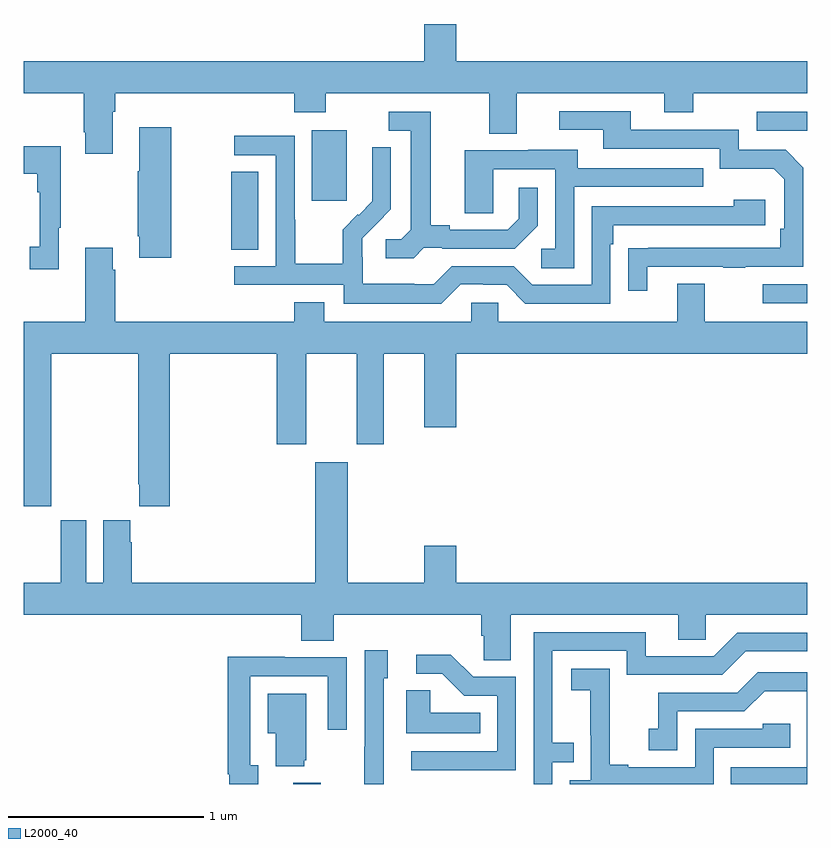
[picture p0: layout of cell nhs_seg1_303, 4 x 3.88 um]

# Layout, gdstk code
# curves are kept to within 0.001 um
import gdstk
lib = gdstk.Library(unit=1e-6, precision=1e-09)
def R(c, l, rs):  # rectangles x0, y0, x1, y1
    for r in rs: c.add(gdstk.rectangle(r[:2], r[2:], *l))
def P(c, l, *ps):  # polygons
    for p in ps: c.add(gdstk.Polygon(p, *l))
L2000_40 = (2000, 40)

nhs_seg1_303 = lib.new_cell('nhs_seg1_303')
R(nhs_seg1_303, L2000_40, [(128.375,552.199,128.515,552.205), (130.773,554.655,131,554.751), (128.059,554.929,128.197,555.326), (128.471,555.177,128.65,555.538), (130.743,555.537,131,555.633)])
P(nhs_seg1_303, L2000_40, [(127.453,555.632),(127.466,555.632),(127.466,555.728),(128.381,555.728),(128.381,555.629),(128.541,555.629),(128.541,555.728),(129.377,555.728),(129.377,555.52),(129.517,555.52),(129.517,555.728),(130.271,555.728),(130.271,555.629),(130.419,555.629),(130.419,555.728),(131,555.728),(131,555.892),(129.208,555.892),(129.208,556.081),(129.044,556.081),(129.044,555.892),(127,555.892),(127,555.728),(127.306,555.728),(127.306,555.529),(127.313,555.529),(127.313,555.417),(127.453,555.417)],
  [(130.183,554.841),(130.573,554.841),(130.573,554.836),(130.685,554.836),(130.685,554.841),(130.98,554.841),(130.98,555.348),(130.89,555.438),(130.65,555.438),(130.65,555.54),(130.099,555.54),(130.099,555.636),(129.735,555.636),(129.735,555.54),(129.959,555.54),(129.959,555.444),(130.554,555.444),(130.554,555.341),(130.831,555.341),(130.884,555.288),(130.884,555.034),(130.864,555.034),(130.864,554.937),(130.087,554.936),(130.087,554.718),(130.183,554.718)],
  [(129.042,554.937),(129.136,554.937),(129.136,554.934),(129.508,554.934),(129.624,555.05),(129.624,555.244),(129.527,555.244),(129.527,555.087),(129.47,555.03),(129.175,555.03),(129.175,555.053),(129.079,555.053),(129.079,555.633),(128.864,555.633),(128.864,555.537),(128.975,555.537),(128.975,555.029),(128.928,554.982),(128.847,554.982),(128.847,554.885),(128.99,554.885)],
  [(127.752,555.553),(127.589,555.553),(127.589,555.329),(127.582,555.329),(127.582,554.998),(127.589,554.998),(127.589,554.886),(127.752,554.886)],
  [(129.231,554.751),(129.347,554.751),(129.347,554.748),(129.465,554.748),(129.561,554.652),(129.996,554.652),(129.996,554.957),(130.009,554.957),(130.009,555.054),(130.786,555.054),(130.786,555.184),(130.625,555.184),(130.625,555.15),(129.9,555.15),(129.9,554.748),(129.597,554.748),(129.501,554.844),(129.186,554.844),(129.093,554.751),(128.993,554.751),(128.993,554.755),(128.73,554.755),(128.73,554.889),(128.728,554.889),(128.728,554.986),(128.874,555.134),(128.874,555.452),(128.778,555.452),(128.778,555.298),(128.78,555.298),(128.78,555.176),(128.709,555.105),(128.706,555.108),(128.629,555.031),(128.629,554.857),(128.385,554.857),(128.385,555.08),(128.382,555.08),(128.382,555.51),(128.073,555.51),(128.073,555.411),(128.286,555.411),(128.286,554.844),(128.073,554.844),(128.073,554.748),(128.634,554.748),(128.634,554.651),(129.131,554.651)],
  [(127.177,555.041),(127.189,555.041),(127.189,555.457),(127,555.457),(127,555.317),(127.068,555.317),(127.068,555.221),(127.08,555.221),(127.08,554.942),(127.029,554.942),(127.029,554.829),(127.177,554.829)],
  [(129.81,555.249),(130.469,555.249),(130.469,555.345),(129.829,555.345),(129.829,555.439),(129.575,555.439),(129.575,555.435),(129.251,555.435),(129.251,555.115),(129.396,555.115),(129.396,555.339),(129.714,555.339),(129.714,554.934),(129.642,554.934),(129.642,554.833),(129.81,554.833)],
  [(127.14,554.396),(127.585,554.396),(127.585,553.729),(127.589,553.729),(127.589,553.617),(127.745,553.617),(127.745,554.396),(128.291,554.396),(128.291,553.935),(128.443,553.935),(128.443,554.396),(128.699,554.396),(128.699,553.935),(128.839,553.935),(128.839,554.396),(129.044,554.396),(129.044,554.022),(129.208,554.022),(129.208,554.396),(131,554.396),(131,554.56),(130.477,554.56),(130.477,554.755),(130.337,554.755),(130.337,554.56),(129.423,554.56),(129.423,554.658),(129.285,554.658),(129.285,554.56),(128.533,554.56),(128.533,554.659),(128.381,554.659),(128.381,554.56),(127.466,554.56),(127.466,554.825),(127.453,554.825),(127.453,554.938),(127.313,554.938),(127.313,554.56),(127,554.56),(127,553.617),(127.14,553.617)],
  [(129.487,553.064),(130.343,553.064),(130.343,552.937),(130.482,552.937),(130.482,553.064),(131,553.064),(131,553.228),(129.208,553.228),(129.208,553.417),(129.044,553.417),(129.044,553.228),(128.653,553.228),(128.653,553.843),(128.489,553.843),(128.489,553.228),(127.55,553.228),(127.55,553.433),(127.543,553.433),(127.543,553.546),(127.406,553.546),(127.406,553.228),(127.318,553.228),(127.318,553.546),(127.187,553.546),(127.187,553.228),(127,553.228),(127,553.064),(128.417,553.064),(128.417,552.931),(128.582,552.931),(128.582,553.064),(129.335,553.064),(129.335,552.955),(129.348,552.955),(129.348,552.832),(129.487,552.832)],
  [(129.699,552.309),(129.809,552.309),(129.809,552.41),(129.699,552.41),(129.699,552.879),(130.08,552.879),(130.08,552.756),(130.566,552.756),(130.686,552.876),(131,552.876),(131,552.972),(130.644,552.972),(130.524,552.852),(130.177,552.852),(130.177,552.975),(129.603,552.975),(129.603,552.199),(129.699,552.199)],
  [(128.838,552.738),(128.857,552.738),(128.857,552.883),(128.742,552.883),(128.742,552.389),(128.739,552.389),(128.739,552.199),(128.838,552.199)],
  [(129.513,552.747),(129.294,552.747),(129.181,552.86),(129.003,552.86),(129.003,552.762),(129.137,552.762),(129.248,552.651),(129.417,552.651),(129.417,552.366),(128.979,552.366),(128.979,552.27),(129.513,552.27)],
  [(128.197,552.294),(128.157,552.294),(128.157,552.75),(128.553,552.75),(128.553,552.477),(128.649,552.477),(128.649,552.846),(128.333,552.846),(128.333,552.848),(128.041,552.848),(128.041,552.25),(128.049,552.25),(128.049,552.199),(128.197,552.199)],
  [(130.524,552.384),(130.913,552.384),(130.913,552.507),(130.773,552.507),(130.773,552.48),(130.428,552.48),(130.428,552.285),(130.087,552.285),(130.087,552.298),(129.992,552.298),(129.992,552.581),(129.993,552.581),(129.993,552.787),(129.795,552.787),(129.795,552.677),(129.893,552.677),(129.893,552.449),(129.894,552.449),(129.894,552.219),(129.789,552.219),(129.789,552.199),(130.524,552.199)],
  [(131,552.771),(130.748,552.771),(130.643,552.666),(130.239,552.666),(130.239,552.481),(130.191,552.481),(130.191,552.372),(130.338,552.372),(130.338,552.57),(130.68,552.57),(130.784,552.674),(130.998,552.674),(130.998,552.285),(130.609,552.285),(130.609,552.199),(131,552.199)],
  [(129.332,552.562),(129.075,552.562),(129.075,552.677),(128.954,552.677),(128.954,552.458),(129.332,552.458)],
  [(128.432,552.321),(128.443,552.321),(128.443,552.661),(128.246,552.661),(128.246,552.458),(128.285,552.458),(128.285,552.29),(128.432,552.29)])

lib.write_gds('nhs_seg1_303.gds')
